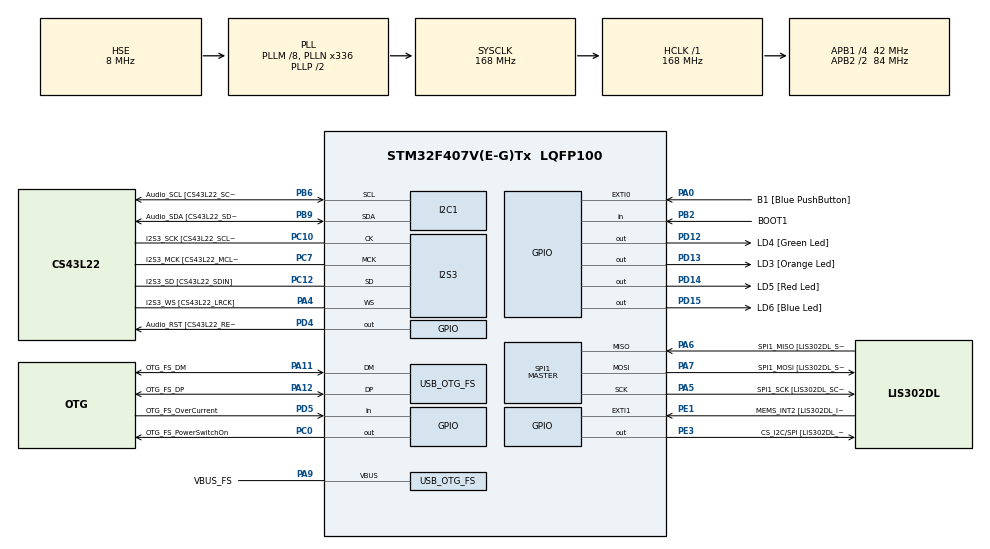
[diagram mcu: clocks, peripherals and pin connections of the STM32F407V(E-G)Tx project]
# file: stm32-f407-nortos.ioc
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I2S3.AudioFreq-Half_Duplex_Master=I2S_AUDIOFREQ_96K
I2S3.ErrorAudioFreq=-2.34 %
I2S3.ErrorAudioFreq-Half_Duplex_Master=0.8 %
I2S3.FullDuplexMode=I2S_FULLDUPLEXMODE_DISABLE
I2S3.Instance=SPI$Index
I2S3.RealAudioFreq=93.75 KHz
I2S3.RealAudioFreq-Half_Duplex_Master=96.774 KHz
I2S3.VirtualMode=I2S_MODE_MASTER
Mcu.Family=STM32F4
Mcu.Name=STM32F407V(E-G)Tx
Mcu.Package=LQFP100
NVIC.OTG_FS_IRQn=true\:0\:0\:false\:false\:true\:true
NVIC.PriorityGroup=NVIC_PRIORITYGROUP_0
NVIC.TIM1_UP_TIM10_IRQn=true\:0\:0\:false\:false\:true\:false
NVIC.TimeBase=TIM1_UP_TIM10_IRQn
NVIC.TimeBaseIP=TIM1
PA0-WKUP.GPIO_Label=B1 [Blue PushButton]
PA0-WKUP.GPIO_ModeDefaultEXTI=GPIO_MODE_EVT_RISING
PA0-WKUP.GPIO_PuPd=GPIO_NOPULL
PA0-WKUP.Signal=GPXTI0
PA10.GPIO_Label=OTG_FS_ID
PA10.GPIO_Mode=GPIO_MODE_AF_PP
PA10.GPIO_PuPd=GPIO_NOPULL
PA10.GPIO_Speed=GPIO_SPEED_FREQ_LOW
PA10.Signal=USB_OTG_FS_ID
PA11.GPIO_Label=OTG_FS_DM
PA11.GPIO_Mode=GPIO_MODE_AF_PP
PA11.GPIO_PuPd=GPIO_NOPULL
PA11.GPIO_Speed=GPIO_SPEED_FREQ_LOW
PA11.Mode=Host_Only
PA11.Signal=USB_OTG_FS_DM
PA12.GPIO_Label=OTG_FS_DP
PA12.GPIO_Mode=GPIO_MODE_AF_PP
PA12.GPIO_PuPd=GPIO_NOPULL
PA12.GPIO_Speed=GPIO_SPEED_FREQ_LOW
PA12.Mode=Host_Only
PA12.Signal=USB_OTG_FS_DP
PA13.GPIO_Label=SWDIO
PA13.Mode=Serial_Wire
PA13.Signal=SYS_JTMS-SWDIO
PA14.GPIO_Label=SWCLK
PA14.Mode=Serial_Wire
PA14.Signal=SYS_JTCK-SWCLK
PA4.GPIO_Label=I2S3_WS [CS43L22_LRCK]
PA4.GPIO_Mode=GPIO_MODE_AF_PP
PA4.GPIO_PuPd=GPIO_NOPULL
PA4.GPIO_Speed=GPIO_SPEED_FREQ_LOW
PA4.Mode=Half_Duplex_Master
PA4.Signal=I2S3_WS
PA5.GPIO_Label=SPI1_SCK [LIS302DL_SCL/SPC]
PA5.GPIO_Mode=GPIO_MODE_AF_PP
PA5.GPIO_PuPd=GPIO_NOPULL
PA5.GPIO_Speed=GPIO_SPEED_FREQ_LOW
PA5.Mode=Full_Duplex_Master
PA5.Signal=SPI1_SCK
PA6.GPIO_Label=SPI1_MISO [LIS302DL_SDO]
PA6.GPIO_Mode=GPIO_MODE_AF_PP
PA6.GPIO_PuPd=GPIO_NOPULL
PA6.GPIO_Speed=GPIO_SPEED_FREQ_LOW
PA6.Mode=Full_Duplex_Master
PA6.Signal=SPI1_MISO
PA7.GPIO_Label=SPI1_MOSI [LIS302DL_SDA/SDI/SDO]
PA7.GPIO_Mode=GPIO_MODE_AF_PP
PA7.GPIO_PuPd=GPIO_NOPULL
PA7.GPIO_Speed=GPIO_SPEED_FREQ_LOW
PA7.Mode=Full_Duplex_Master
PA7.Signal=SPI1_MOSI
PA9.GPIO_Label=VBUS_FS
PA9.GPIO_Mode=GPIO_MODE_INPUT
PA9.GPIO_PuPd=GPIO_NOPULL
PA9.Mode=Activate_VBUS
PA9.Signal=USB_OTG_FS_VBUS
PB10.GPIO_Label=CLK_IN [MP45DT02_CLK]
PB10.GPIO_Mode=GPIO_MODE_AF_PP
PB10.GPIO_PuPd=GPIO_NOPULL
PB10.GPIO_Speed=GPIO_SPEED_FREQ_LOW
PB10.Signal=I2S2_CK
PB2.GPIO_Label=BOOT1
PB2.GPIO_Mode=GPIO_MODE_INPUT
PB2.GPIO_PuPd=GPIO_NOPULL
PB2.Signal=GPIO_Input
PB3.GPIO_Label=SWO
PB3.Signal=SYS_JTDO-SWO
PB6.GPIO_Label=Audio_SCL [CS43L22_SCL]
PB6.GPIO_Mode=GPIO_MODE_AF_OD
PB6.GPIO_PuPd=GPIO_NOPULL
PB6.GPIO_Speed=GPIO_SPEED_FREQ_LOW
PB6.Mode=I2C
PB6.Signal=I2C1_SCL
PB9.GPIO_Label=Audio_SDA [CS43L22_SDA]
PB9.GPIO_Mode=GPIO_MODE_AF_OD
PB9.GPIO_PuPd=GPIO_NOPULL
PB9.GPIO_Speed=GPIO_SPEED_FREQ_LOW
PB9.Mode=I2C
PB9.Signal=I2C1_SDA
PC0.GPIO_Label=OTG_FS_PowerSwitchOn
PC0.GPIO_PuPd=GPIO_NOPULL
PC0.GPIO_Speed=GPIO_SPEED_FREQ_LOW
PC0.PinState=GPIO_PIN_SET
PC0.Signal=GPIO_Output
PC10.GPIO_Label=I2S3_SCK [CS43L22_SCLK]
PC10.GPIO_Mode=GPIO_MODE_AF_PP
PC10.GPIO_PuPd=GPIO_NOPULL
PC10.GPIO_Speed=GPIO_SPEED_FREQ_LOW
PC10.Mode=Half_Duplex_Master
PC10.Signal=I2S3_CK
PC12.GPIO_Label=I2S3_SD [CS43L22_SDIN]
PC12.GPIO_Mode=GPIO_MODE_AF_PP
PC12.GPIO_PuPd=GPIO_NOPULL
PC12.GPIO_Speed=GPIO_SPEED_FREQ_LOW
PC12.Mode=Half_Duplex_Master
PC12.Signal=I2S3_SD
PC14-OSC32_IN.GPIO_Label=PC14-OSC32_IN
PC14-OSC32_IN.Mode=LSE-External-Oscillator
PC14-OSC32_IN.Signal=RCC_OSC32_IN
PC15-OSC32_OUT.GPIO_Label=PC15-OSC32_OUT
PC15-OSC32_OUT.Mode=LSE-External-Oscillator
PC15-OSC32_OUT.Signal=RCC_OSC32_OUT
PC3.GPIO_Label=PDM_OUT [MP45DT02_DOUT]
PC3.GPIO_Mode=GPIO_MODE_AF_PP
PC3.GPIO_PuPd=GPIO_NOPULL
PC3.GPIO_Speed=GPIO_SPEED_FREQ_LOW
PC3.Signal=I2S2_SD
PC7.GPIO_Label=I2S3_MCK [CS43L22_MCLK]
PC7.GPIO_Mode=GPIO_MODE_AF_PP
PC7.GPIO_PuPd=GPIO_NOPULL
PC7.GPIO_Speed=GPIO_SPEED_FREQ_LOW
PC7.Mode=Master_Clock_Activated
PC7.Signal=I2S3_MCK
PD12.GPIO_Label=LD4 [Green Led]
PD12.GPIO_PuPd=GPIO_NOPULL
PD12.GPIO_Speed=GPIO_SPEED_FREQ_LOW
PD12.Signal=GPIO_Output
PD13.GPIO_Label=LD3 [Orange Led]
PD13.GPIO_PuPd=GPIO_NOPULL
PD13.GPIO_Speed=GPIO_SPEED_FREQ_LOW
PD13.Signal=GPIO_Output
PD14.GPIO_Label=LD5 [Red Led]
PD14.GPIO_PuPd=GPIO_NOPULL
PD14.GPIO_Speed=GPIO_SPEED_FREQ_LOW
PD14.Signal=GPIO_Output
PD15.GPIO_Label=LD6 [Blue Led]
PD15.GPIO_PuPd=GPIO_NOPULL
PD15.GPIO_Speed=GPIO_SPEED_FREQ_LOW
PD15.Signal=GPIO_Output
PD4.GPIO_Label=Audio_RST [CS43L22_RESET]
PD4.GPIO_PuPd=GPIO_NOPULL
PD4.GPIO_Speed=GPIO_SPEED_FREQ_LOW
PD4.Signal=GPIO_Output
PD5.GPIO_Label=OTG_FS_OverCurrent
PD5.GPIO_Mode=GPIO_MODE_INPUT
PD5.GPIO_PuPd=GPIO_NOPULL
PD5.Signal=GPIO_Input
PE1.GPIO_Label=MEMS_INT2 [LIS302DL_INT2]
PE1.GPIO_ModeDefaultEXTI=GPIO_MODE_EVT_RISING
PE1.GPIO_PuPd=GPIO_NOPULL
PE1.Signal=GPXTI1
PE3.GPIO_Label=CS_I2C/SPI [LIS302DL_CS_I2C/SPI]
PE3.GPIO_PuPd=GPIO_NOPULL
PE3.GPIO_Speed=GPIO_SPEED_FREQ_LOW
PE3.Signal=GPIO_Output
PH0-OSC_IN.GPIO_Label=PH0-OSC_IN
PH0-OSC_IN.Mode=HSE-External-Oscillator
PH0-OSC_IN.Signal=RCC_OSC_IN
PH1-OSC_OUT.GPIO_Label=PH1-OSC_OUT
PH1-OSC_OUT.Mode=HSE-External-Oscillator
PH1-OSC_OUT.Signal=RCC_OSC_OUT
ProjectManager.HeapSize=0x200
ProjectManager.StackSize=0x400
ProjectManager.TargetToolchain=SW4STM32
RCC.48MHZClocksFreq_Value=48000000
RCC.AHBFreq_Value=168000000
RCC.APB1CLKDivider=RCC_HCLK_DIV4
RCC.APB1Freq_Value=42000000
RCC.APB1TimFreq_Value=84000000
RCC.APB2CLKDivider=RCC_HCLK_DIV2
RCC.APB2Freq_Value=84000000
RCC.APB2TimFreq_Value=168000000
RCC.CortexFreq_Value=168000000
RCC.HCLKFreq_Value=168000000
RCC.HSE_VALUE=8000000
RCC.HSI_VALUE=16000000
RCC.PLLM=8
RCC.PLLN=336
RCC.PLLQ=7
RCC.SYSCLKFreq_VALUE=168000000
RCC.SYSCLKSource=RCC_SYSCLKSOURCE_PLLCLK
RCC.VCOOutputFreq_Value=336000000
SPI1.BaudRatePrescaler-Full_Duplex_Master=SPI_BAUDRATEPRESCALER_2
SPI1.CalculateBaudRate-Full_Duplex_Master=42.0 MBits/s
SPI1.Direction=SPI_DIRECTION_2LINES
SPI1.Mode=SPI_MODE_MASTER
SPI1.Mode-Full_Duplex_Master=SPI_MODE_MASTER
SPI1.VirtualType=VM_MASTER
USB_HOST.BSP.number=1
USB_HOST.USBH_HandleTypeDef-CDC_FS=hUsbHostFS
USB_HOST.VirtualModeFS=Cdc
USB_HOST0.BSP.STBoard=false
USB_HOST0.BSP.api=Unknown
USB_HOST0.BSP.i2caddr=0
USB_HOST0.BSP.i2creg=0
USB_HOST0.BSP.instance=PC0
USB_HOST0.BSP.ip=GPIO
USB_HOST0.BSP.mode=Output
USB_HOST0.BSP.name=Drive_VBUS_FS
USB_HOST0.BSP.solution=PC0
USB_OTG_FS.VirtualMode=Host_Only
USB_OTG_FS.phy_itface=HCD_PHY_EMBEDDED
VP_SYS_VS_tim1.Mode=TIM1
VP_USB_HOST_VS_USB_HOST_CDC_FS.Mode=CDC_FS
board=STM32F4DISCOVERY

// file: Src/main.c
/* USER CODE BEGIN Header */
/**
  ******************************************************************************
  * @file           : main.c
  * @brief          : Main program body
  ******************************************************************************
  * This notice applies to any and all portions of this file
  * that are not between comment pairs USER CODE BEGIN and
  * USER CODE END. Other portions of this file, whether
  * inserted by the user or by software development tools
  * are owned by their respective copyright owners.
  *
  * Copyright (c) 2019 STMicroelectronics International N.V.
  * All rights reserved.
  *
  * Redistribution and use in source and binary forms, with or without
  * modification, are permitted, provided that the following conditions are met:
  *
  * 1. Redistribution of source code must retain the above copyright notice,
  *    this list of conditions and the following disclaimer.
  * 2. Redistributions in binary form must reproduce the above copyright notice,
  *    this list of conditions and the following disclaimer in the documentation
  *    and/or other materials provided with the distribution.
  * 3. Neither the name of STMicroelectronics nor the names of other
  *    contributors to this software may be used to endorse or promote products
  *    derived from this software without specific written permission.
  * 4. This software, including modifications and/or derivative works of this
  *    software, must execute solely and exclusively on microcontroller or
  *    microprocessor devices manufactured by or for STMicroelectronics.
  * 5. Redistribution and use of this software other than as permitted under
  *    this license is void and will automatically terminate your rights under
  *    this license.
  *
  * THIS SOFTWARE IS PROVIDED BY STMICROELECTRONICS AND CONTRIBUTORS "AS IS"
  * AND ANY EXPRESS, IMPLIED OR STATUTORY WARRANTIES, INCLUDING, BUT NOT
  * LIMITED TO, THE IMPLIED WARRANTIES OF MERCHANTABILITY, FITNESS FOR A
  * PARTICULAR PURPOSE AND NON-INFRINGEMENT OF THIRD PARTY INTELLECTUAL PROPERTY
  * RIGHTS ARE DISCLAIMED TO THE FULLEST EXTENT PERMITTED BY LAW. IN NO EVENT
  * SHALL STMICROELECTRONICS OR CONTRIBUTORS BE LIABLE FOR ANY DIRECT, INDIRECT,
  * INCIDENTAL, SPECIAL, EXEMPLARY, OR CONSEQUENTIAL DAMAGES (INCLUDING, BUT NOT
  * LIMITED TO, PROCUREMENT OF SUBSTITUTE GOODS OR SERVICES; LOSS OF USE, DATA,
  * OR PROFITS; OR BUSINESS INTERRUPTION) HOWEVER CAUSED AND ON ANY THEORY OF
  * LIABILITY, WHETHER IN CONTRACT, STRICT LIABILITY, OR TORT (INCLUDING
  * NEGLIGENCE OR OTHERWISE) ARISING IN ANY WAY OUT OF THE USE OF THIS SOFTWARE,
  * EVEN IF ADVISED OF THE POSSIBILITY OF SUCH DAMAGE.
  *
  ******************************************************************************
  */
/* USER CODE END Header */

#include "main.h"
#include "usb_host.h"

/* USER CODE BEGIN Includes */
#include <all.h>

/* USER CODE END Includes */

I2C_HandleTypeDef hi2c1;

I2S_HandleTypeDef hi2s3;

SPI_HandleTypeDef hspi1;

void SystemClock_Config(void);
static void MX_GPIO_Init(void);
static void MX_I2C1_Init(void);
static void MX_I2S3_Init(void);
static void MX_SPI1_Init(void);
void MX_USB_HOST_Process(void);

/* USER CODE BEGIN 0 */
void blink(uint16_t pin, int16_t count){
    int16_t delay = 400;

    for(int16_t i = 0; i < count; i++) {
        HAL_GPIO_WritePin(GPIOD, pin, GPIO_PIN_SET);
        //osDelay(delay);
        HAL_Delay(delay);
        HAL_GPIO_WritePin(GPIOD, pin, GPIO_PIN_RESET);
        HAL_Delay(delay);
    }
}

void blinkOnRed(int16_t count) {
    blink(LD5_Pin, count);
}

void blinkOnBlue(int16_t count) {
    blink(LD6_Pin, count);
}
/* USER CODE END 0 */

int main(void)
{

  /* MCU Configuration--------------------------------------------------------*/

  /* Reset of all peripherals, Initializes the Flash interface and the Systick. */
  HAL_Init();

  /* Configure the system clock */
  SystemClock_Config();

  /* Initialize all configured peripherals */
  MX_GPIO_Init();
  MX_I2C1_Init();
  MX_I2S3_Init();
  MX_SPI1_Init();
  MX_USB_HOST_Init();
  /* USER CODE BEGIN 2 */

    StackFrame dummy;
    int16_t seed = 1;

    // init Ping
    proj_Ping_i_App_initialize(dummy, seed);

    // init Pong
    proj_Pong_i_App_initialize(dummy, seed);

    // call Ping's initialize entrypoint -- sends 0 to Pong
    art_Bridge_EntryPoints_initialise_(dummy, proj_Ping_i_App_entryPoints(dummy));

  /* USER CODE END 2 */

  /* Infinite loop */
  /* USER CODE BEGIN WHILE */
  while (1)
  {
      proj_Ping_i_App_compute(dummy);

      proj_Pong_i_App_compute(dummy);

    /* USER CODE END WHILE */
    MX_USB_HOST_Process();

  }
}

void SystemClock_Config(void)
{
  RCC_OscInitTypeDef RCC_OscInitStruct = {0};
  RCC_ClkInitTypeDef RCC_ClkInitStruct = {0};
  RCC_PeriphCLKInitTypeDef PeriphClkInitStruct = {0};

  /**Configure the main internal regulator output voltage
  */
  __HAL_RCC_PWR_CLK_ENABLE();
  __HAL_PWR_VOLTAGESCALING_CONFIG(PWR_REGULATOR_VOLTAGE_SCALE1);
  /**Initializes the CPU, AHB and APB busses clocks
  */
  RCC_OscInitStruct.OscillatorType = RCC_OSCILLATORTYPE_HSE;
  RCC_OscInitStruct.HSEState = RCC_HSE_ON;
  RCC_OscInitStruct.PLL.PLLState = RCC_PLL_ON;
  RCC_OscInitStruct.PLL.PLLSource = RCC_PLLSOURCE_HSE;
  RCC_OscInitStruct.PLL.PLLM = 8;
  RCC_OscInitStruct.PLL.PLLN = 336;
  RCC_OscInitStruct.PLL.PLLP = RCC_PLLP_DIV2;
  RCC_OscInitStruct.PLL.PLLQ = 7;
  if (HAL_RCC_OscConfig(&RCC_OscInitStruct) != HAL_OK)
  {
    Error_Handler();
  }
  /**Initializes the CPU, AHB and APB busses clocks
  */
  RCC_ClkInitStruct.ClockType = RCC_CLOCKTYPE_HCLK|RCC_CLOCKTYPE_SYSCLK
                              |RCC_CLOCKTYPE_PCLK1|RCC_CLOCKTYPE_PCLK2;
  RCC_ClkInitStruct.SYSCLKSource = RCC_SYSCLKSOURCE_PLLCLK;
  RCC_ClkInitStruct.AHBCLKDivider = RCC_SYSCLK_DIV1;
  RCC_ClkInitStruct.APB1CLKDivider = RCC_HCLK_DIV4;
  RCC_ClkInitStruct.APB2CLKDivider = RCC_HCLK_DIV2;

  if (HAL_RCC_ClockConfig(&RCC_ClkInitStruct, FLASH_LATENCY_5) != HAL_OK)
  {
    Error_Handler();
  }
  PeriphClkInitStruct.PeriphClockSelection = RCC_PERIPHCLK_I2S;
  PeriphClkInitStruct.PLLI2S.PLLI2SN = 192;
  PeriphClkInitStruct.PLLI2S.PLLI2SR = 2;
  if (HAL_RCCEx_PeriphCLKConfig(&PeriphClkInitStruct) != HAL_OK)
  {
    Error_Handler();
  }
}

static void MX_I2C1_Init(void)
{

  hi2c1.Instance = I2C1;
  hi2c1.Init.ClockSpeed = 100000;
  hi2c1.Init.DutyCycle = I2C_DUTYCYCLE_2;
  hi2c1.Init.OwnAddress1 = 0;
  hi2c1.Init.AddressingMode = I2C_ADDRESSINGMODE_7BIT;
  hi2c1.Init.DualAddressMode = I2C_DUALADDRESS_DISABLE;
  hi2c1.Init.OwnAddress2 = 0;
  hi2c1.Init.GeneralCallMode = I2C_GENERALCALL_DISABLE;
  hi2c1.Init.NoStretchMode = I2C_NOSTRETCH_DISABLE;
  if (HAL_I2C_Init(&hi2c1) != HAL_OK)
  {
    Error_Handler();
  }

}

static void MX_I2S3_Init(void)
{

  hi2s3.Instance = SPI3;
  hi2s3.Init.Mode = I2S_MODE_MASTER_TX;
  hi2s3.Init.Standard = I2S_STANDARD_PHILIPS;
  hi2s3.Init.DataFormat = I2S_DATAFORMAT_16B;
  hi2s3.Init.MCLKOutput = I2S_MCLKOUTPUT_ENABLE;
  hi2s3.Init.AudioFreq = I2S_AUDIOFREQ_96K;
  hi2s3.Init.CPOL = I2S_CPOL_LOW;
  hi2s3.Init.ClockSource = I2S_CLOCK_PLL;
  hi2s3.Init.FullDuplexMode = I2S_FULLDUPLEXMODE_DISABLE;
  if (HAL_I2S_Init(&hi2s3) != HAL_OK)
  {
    Error_Handler();
  }

}

static void MX_SPI1_Init(void)
{

  /* SPI1 parameter configuration*/
  hspi1.Instance = SPI1;
  hspi1.Init.Mode = SPI_MODE_MASTER;
  hspi1.Init.Direction = SPI_DIRECTION_2LINES;
  hspi1.Init.DataSize = SPI_DATASIZE_8BIT;
  hspi1.Init.CLKPolarity = SPI_POLARITY_LOW;
  hspi1.Init.CLKPhase = SPI_PHASE_1EDGE;
  hspi1.Init.NSS = SPI_NSS_SOFT;
  hspi1.Init.BaudRatePrescaler = SPI_BAUDRATEPRESCALER_2;
  hspi1.Init.FirstBit = SPI_FIRSTBIT_MSB;
  hspi1.Init.TIMode = SPI_TIMODE_DISABLE;
  hspi1.Init.CRCCalculation = SPI_CRCCALCULATION_DISABLE;
  hspi1.Init.CRCPolynomial = 10;
  if (HAL_SPI_Init(&hspi1) != HAL_OK)
  {
    Error_Handler();
  }

}

static void MX_GPIO_Init(void)
{
  GPIO_InitTypeDef GPIO_InitStruct = {0};

  /* GPIO Ports Clock Enable */
  __HAL_RCC_GPIOE_CLK_ENABLE();
  __HAL_RCC_GPIOC_CLK_ENABLE();
  __HAL_RCC_GPIOH_CLK_ENABLE();
  __HAL_RCC_GPIOA_CLK_ENABLE();
  __HAL_RCC_GPIOB_CLK_ENABLE();
  __HAL_RCC_GPIOD_CLK_ENABLE();

  /*Configure GPIO pin Output Level */
  HAL_GPIO_WritePin(CS_I2C_SPI_GPIO_Port, CS_I2C_SPI_Pin, GPIO_PIN_RESET);

  /*Configure GPIO pin Output Level */
  HAL_GPIO_WritePin(OTG_FS_PowerSwitchOn_GPIO_Port, OTG_FS_PowerSwitchOn_Pin, GPIO_PIN_SET);

  /*Configure GPIO pin Output Level */
  HAL_GPIO_WritePin(GPIOD, LD4_Pin|LD3_Pin|LD5_Pin|LD6_Pin
                          |Audio_RST_Pin, GPIO_PIN_RESET);

  /*Configure GPIO pin : CS_I2C_SPI_Pin */
  GPIO_InitStruct.Pin = CS_I2C_SPI_Pin;
  GPIO_InitStruct.Mode = GPIO_MODE_OUTPUT_PP;
  GPIO_InitStruct.Pull = GPIO_NOPULL;
  GPIO_InitStruct.Speed = GPIO_SPEED_FREQ_LOW;
  HAL_GPIO_Init(CS_I2C_SPI_GPIO_Port, &GPIO_InitStruct);

  /*Configure GPIO pin : OTG_FS_PowerSwitchOn_Pin */
  GPIO_InitStruct.Pin = OTG_FS_PowerSwitchOn_Pin;
  GPIO_InitStruct.Mode = GPIO_MODE_OUTPUT_PP;
  GPIO_InitStruct.Pull = GPIO_NOPULL;
  GPIO_InitStruct.Speed = GPIO_SPEED_FREQ_LOW;
  HAL_GPIO_Init(OTG_FS_PowerSwitchOn_GPIO_Port, &GPIO_InitStruct);

  /*Configure GPIO pin : PDM_OUT_Pin */
  GPIO_InitStruct.Pin = PDM_OUT_Pin;
  GPIO_InitStruct.Mode = GPIO_MODE_AF_PP;
  GPIO_InitStruct.Pull = GPIO_NOPULL;
  GPIO_InitStruct.Speed = GPIO_SPEED_FREQ_LOW;
  GPIO_InitStruct.Alternate = GPIO_AF5_SPI2;
  HAL_GPIO_Init(PDM_OUT_GPIO_Port, &GPIO_InitStruct);

  /*Configure GPIO pin : B1_Pin */
  GPIO_InitStruct.Pin = B1_Pin;
  GPIO_InitStruct.Mode = GPIO_MODE_EVT_RISING;
  GPIO_InitStruct.Pull = GPIO_NOPULL;
  HAL_GPIO_Init(B1_GPIO_Port, &GPIO_InitStruct);

  /*Configure GPIO pin : BOOT1_Pin */
  GPIO_InitStruct.Pin = BOOT1_Pin;
  GPIO_InitStruct.Mode = GPIO_MODE_INPUT;
  GPIO_InitStruct.Pull = GPIO_NOPULL;
  HAL_GPIO_Init(BOOT1_GPIO_Port, &GPIO_InitStruct);

  /*Configure GPIO pin : CLK_IN_Pin */
  GPIO_InitStruct.Pin = CLK_IN_Pin;
  GPIO_InitStruct.Mode = GPIO_MODE_AF_PP;
  GPIO_InitStruct.Pull = GPIO_NOPULL;
  GPIO_InitStruct.Speed = GPIO_SPEED_FREQ_LOW;
  GPIO_InitStruct.Alternate = GPIO_AF5_SPI2;
  HAL_GPIO_Init(CLK_IN_GPIO_Port, &GPIO_InitStruct);

  /*Configure GPIO pins : LD4_Pin LD3_Pin LD5_Pin LD6_Pin
                           Audio_RST_Pin */
  GPIO_InitStruct.Pin = LD4_Pin|LD3_Pin|LD5_Pin|LD6_Pin
                          |Audio_RST_Pin;
  GPIO_InitStruct.Mode = GPIO_MODE_OUTPUT_PP;
  GPIO_InitStruct.Pull = GPIO_NOPULL;
  GPIO_InitStruct.Speed = GPIO_SPEED_FREQ_LOW;
  HAL_GPIO_Init(GPIOD, &GPIO_InitStruct);

  /*Configure GPIO pin : OTG_FS_OverCurrent_Pin */
  GPIO_InitStruct.Pin = OTG_FS_OverCurrent_Pin;
  GPIO_InitStruct.Mode = GPIO_MODE_INPUT;
  GPIO_InitStruct.Pull = GPIO_NOPULL;
  HAL_GPIO_Init(OTG_FS_OverCurrent_GPIO_Port, &GPIO_InitStruct);

  /*Configure GPIO pin : MEMS_INT2_Pin */
  GPIO_InitStruct.Pin = MEMS_INT2_Pin;
  GPIO_InitStruct.Mode = GPIO_MODE_EVT_RISING;
  GPIO_InitStruct.Pull = GPIO_NOPULL;
  HAL_GPIO_Init(MEMS_INT2_GPIO_Port, &GPIO_InitStruct);

}

void HAL_TIM_PeriodElapsedCallback(TIM_HandleTypeDef *htim)
{
  if (htim->Instance == TIM1) {
    HAL_IncTick();
  }
}

void Error_Handler(void)
{
}

/************************ (C) COPYRIGHT STMicroelectronics *****END OF FILE****/
